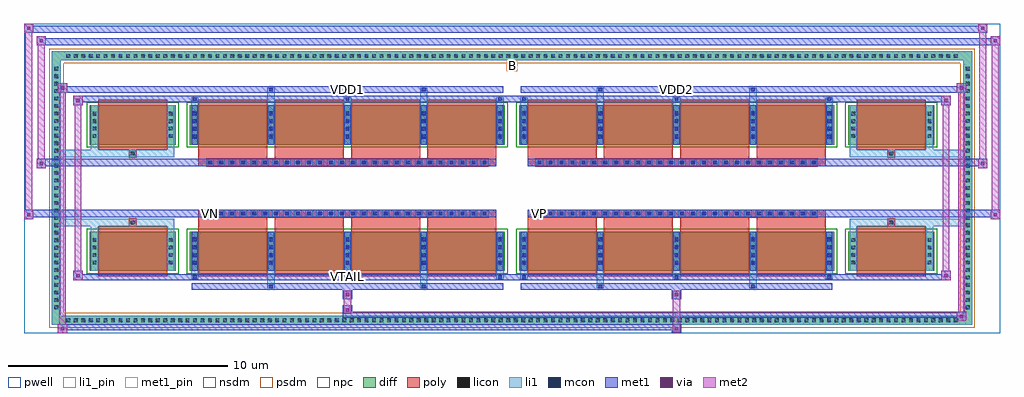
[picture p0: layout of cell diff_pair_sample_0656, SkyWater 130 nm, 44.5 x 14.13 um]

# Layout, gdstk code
import gdstk
lib = gdstk.Library(unit=1e-6, precision=5e-09)
def R(c, l, rs):  # rectangles x0, y0, x1, y1
    for r in rs: c.add(gdstk.rectangle(r[:2], r[2:], *l))
def A(c, l, x, y, w, h, nx, ny, dx, dy):  # array of equal rectangles
    R(c, l, [(x+i*dx, y+j*dy, x+i*dx+w, y+j*dy+h) for i in range(nx) for j in range(ny)])
def P(c, l, *ps):  # polygons
    for p in ps: c.add(gdstk.Polygon(p, *l))
pwell = (64, 44)
diff = (65, 20)
poly = (66, 20)
licon = (66, 44)
li1_pin = (67, 16)
li1 = (67, 20)
mcon = (67, 44)
met1_pin = (68, 16)
met1 = (68, 20)
via = (68, 44)
met2 = (69, 20)
nsdm = (93, 44)
psdm = (94, 20)
npc = (95, 20)

diff_pair_sample_0656 = lib.new_cell('diff_pair_sample_0656')
R(diff_pair_sample_0656, pwell, [(-22.25,-6.63,22.25,7.5), (-19.57,-4.82,-0.01,-0.8), (0.01,-4.82,19.57,-0.8), (-19.57,0.8,-0.01,4.82), (0.01,0.8,19.57,4.82)])
A(diff_pair_sample_0656, diff, -20.435, -6.23, 0.41, 0.41, 120, 2, 0.34, 12.05)
A(diff_pair_sample_0656, diff, -20.98, -5.645, 0.41, 0.41, 1, 33, 0, 0.34)
A(diff_pair_sample_0656, diff, 20.57, -5.645, 0.41, 0.41, 1, 33, 0, 0.34)
R(diff_pair_sample_0656, diff, [(-20.435,-6.23,20.435,-5.82), (-20.98,-5.645,-20.57,5.645), (20.57,-5.645,20.98,5.645), (-19.26,-3.775,-15.33,-1.985), (-14.69,-3.775,-0.32,-1.985), (0.32,-3.775,14.69,-1.985), (15.33,-3.775,19.26,-1.985), (-19.26,1.985,-15.33,3.775), (-14.69,1.985,-0.32,3.775), (0.32,1.985,14.69,3.775), (15.33,1.985,19.26,3.775), (-20.435,5.82,20.435,6.23)])
P(diff_pair_sample_0656, diff, [(20.98,6.23),(-20.98,6.23),(-20.98,-5.82),(-20.57,-5.82),(-20.57,5.82),(20.57,5.82),(20.57,-5.82),(-20.57,-5.82),(-20.98,-5.82),(-20.98,-6.23),(20.98,-6.23)])
A(diff_pair_sample_0656, poly, -14.3, -4.025, 3.15, 2.29, 4, 2, 3.48, 5.76)
A(diff_pair_sample_0656, poly, 0.71, -4.025, 3.15, 2.29, 4, 2, 3.48, 5.76)
A(diff_pair_sample_0656, poly, -14.3, -1.735, 3.15, 0.405, 4, 2, 3.48, 3.065)
A(diff_pair_sample_0656, poly, 0.71, -1.735, 3.15, 0.405, 4, 2, 3.48, 3.065)
A(diff_pair_sample_0656, poly, -13.92, -1.33, 0.33, 0.33, 26, 2, 0.5, 2.33)
A(diff_pair_sample_0656, poly, 1.09, -1.33, 0.33, 0.33, 26, 2, 0.5, 2.33)
R(diff_pair_sample_0656, poly, [(-18.87,-4.025,-15.72,-1.735), (15.72,-4.025,18.87,-1.735), (-17.46,-1.735,-17.13,-1.405), (-17.46,-1.735,-17.13,-1.405), (17.13,-1.735,17.46,-1.405), (17.13,-1.735,17.46,-1.405), (-14.3,-1.33,-0.71,-1), (0.71,-1.33,14.3,-1), (-14.3,1,-0.71,1.33), (0.71,1,14.3,1.33), (-17.46,1.405,-17.13,1.735), (-17.46,1.405,-17.13,1.735), (17.13,1.405,17.46,1.735), (17.13,1.405,17.46,1.735), (-18.87,1.735,-15.72,4.025), (15.72,1.735,18.87,4.025)])
A(diff_pair_sample_0656, licon, -20.315, -6.11, 0.17, 0.17, 120, 2, 0.34, 12.05)
A(diff_pair_sample_0656, licon, -20.86, -5.525, 0.17, 0.17, 1, 33, 0, 0.34)
A(diff_pair_sample_0656, licon, 20.69, -5.525, 0.17, 0.17, 1, 33, 0, 0.34)
A(diff_pair_sample_0656, licon, -19.12, -3.475, 0.17, 0.17, 1, 4, 0, 0.34)
A(diff_pair_sample_0656, licon, -15.64, -3.475, 0.17, 0.17, 1, 4, 0, 0.34)
A(diff_pair_sample_0656, licon, -14.55, -3.475, 0.17, 0.17, 5, 4, 3.48, 0.34)
A(diff_pair_sample_0656, licon, 0.46, -3.475, 0.17, 0.17, 5, 4, 3.48, 0.34)
A(diff_pair_sample_0656, licon, 15.47, -3.475, 0.17, 0.17, 1, 4, 0, 0.34)
A(diff_pair_sample_0656, licon, 18.95, -3.475, 0.17, 0.17, 1, 4, 0, 0.34)
A(diff_pair_sample_0656, licon, -13.84, -1.25, 0.17, 0.17, 26, 2, 0.5, 2.33)
A(diff_pair_sample_0656, licon, 1.17, -1.25, 0.17, 0.17, 26, 2, 0.5, 2.33)
A(diff_pair_sample_0656, licon, -19.12, 2.285, 0.17, 0.17, 1, 4, 0, 0.34)
A(diff_pair_sample_0656, licon, -15.64, 2.285, 0.17, 0.17, 1, 4, 0, 0.34)
A(diff_pair_sample_0656, licon, -14.55, 2.285, 0.17, 0.17, 5, 4, 3.48, 0.34)
A(diff_pair_sample_0656, licon, 0.46, 2.285, 0.17, 0.17, 5, 4, 3.48, 0.34)
A(diff_pair_sample_0656, licon, 15.47, 2.285, 0.17, 0.17, 1, 4, 0, 0.34)
A(diff_pair_sample_0656, licon, 18.95, 2.285, 0.17, 0.17, 1, 4, 0, 0.34)
R(diff_pair_sample_0656, licon, [(-17.38,-1.655,-17.21,-1.485), (17.21,-1.655,17.38,-1.485), (-17.38,1.485,-17.21,1.655), (17.21,1.485,17.38,1.655)])
R(diff_pair_sample_0656, li1_pin, [(-0.25,5.32,0.25,5.82)])
A(diff_pair_sample_0656, li1, -20.395, -6.19, 0.33, 0.33, 120, 2, 0.34, 12.05)
A(diff_pair_sample_0656, li1, -20.94, -5.605, 0.33, 0.33, 1, 33, 0, 0.34)
A(diff_pair_sample_0656, li1, 20.61, -5.605, 0.33, 0.33, 1, 33, 0, 0.34)
A(diff_pair_sample_0656, li1, -14.63, -4.15, 0.33, 0.375, 3, 2, 6.96, 7.925)
A(diff_pair_sample_0656, li1, -14.55, -4.15, 0.17, 0.17, 3, 2, 6.96, 8.13)
A(diff_pair_sample_0656, li1, 0.38, -4.15, 0.33, 0.375, 3, 2, 6.96, 7.925)
A(diff_pair_sample_0656, li1, 0.46, -4.15, 0.17, 0.17, 3, 2, 6.96, 8.13)
A(diff_pair_sample_0656, li1, -14.63, -3.775, 0.33, 1.79, 5, 2, 3.48, 5.76)
A(diff_pair_sample_0656, li1, 0.38, -3.775, 0.33, 1.79, 5, 2, 3.48, 5.76)
A(diff_pair_sample_0656, li1, -19.2, -3.555, 0.33, 0.33, 1, 4, 0, 0.34)
A(diff_pair_sample_0656, li1, -15.72, -3.555, 0.33, 0.33, 1, 4, 0, 0.34)
A(diff_pair_sample_0656, li1, -14.63, -3.555, 0.33, 0.33, 5, 4, 3.48, 0.34)
A(diff_pair_sample_0656, li1, 0.38, -3.555, 0.33, 0.33, 5, 4, 3.48, 0.34)
A(diff_pair_sample_0656, li1, 15.39, -3.555, 0.33, 0.33, 1, 4, 0, 0.34)
A(diff_pair_sample_0656, li1, 18.87, -3.555, 0.33, 0.33, 1, 4, 0, 0.34)
A(diff_pair_sample_0656, li1, -14.55, -3.505, 0.17, 0.17, 5, 4, 3.48, 0.36)
A(diff_pair_sample_0656, li1, -14.55, -3.505, 0.17, 1.25, 5, 2, 3.48, 5.76)
A(diff_pair_sample_0656, li1, 0.46, -3.505, 0.17, 0.17, 5, 4, 3.48, 0.36)
A(diff_pair_sample_0656, li1, 0.46, -3.505, 0.17, 1.25, 5, 2, 3.48, 5.76)
A(diff_pair_sample_0656, li1, -13.92, -1.33, 0.33, 0.33, 26, 2, 0.5, 2.33)
A(diff_pair_sample_0656, li1, 1.09, -1.33, 0.33, 0.33, 26, 2, 0.5, 2.33)
A(diff_pair_sample_0656, li1, -19.2, 2.205, 0.33, 0.33, 1, 4, 0, 0.34)
A(diff_pair_sample_0656, li1, -15.72, 2.205, 0.33, 0.33, 1, 4, 0, 0.34)
A(diff_pair_sample_0656, li1, -14.63, 2.205, 0.33, 0.33, 5, 4, 3.48, 0.34)
A(diff_pair_sample_0656, li1, 0.38, 2.205, 0.33, 0.33, 5, 4, 3.48, 0.34)
A(diff_pair_sample_0656, li1, 15.39, 2.205, 0.33, 0.33, 1, 4, 0, 0.34)
A(diff_pair_sample_0656, li1, 18.87, 2.205, 0.33, 0.33, 1, 4, 0, 0.34)
A(diff_pair_sample_0656, li1, -14.55, 2.255, 0.17, 0.17, 5, 4, 3.48, 0.36)
A(diff_pair_sample_0656, li1, 0.46, 2.255, 0.17, 0.17, 5, 4, 3.48, 0.36)
R(diff_pair_sample_0656, li1, [(-20.98,-6.23,-20.57,-5.82), (-20.98,-6.23,-20.57,-5.82), (-20.57,-6.23,20.57,-5.82), (20.57,-6.23,20.98,-5.82), (20.57,-6.23,20.98,-5.82), (-20.98,-5.82,-20.57,5.82), (20.57,-5.82,20.98,5.82), (-11.15,-4.58,-10.82,-3.775), (-11.07,-4.58,-10.9,-4.41), (-4.19,-4.58,-3.86,-3.775), (-4.11,-4.58,-3.94,-4.41), (3.86,-4.58,4.19,-3.775), (3.94,-4.58,4.11,-4.41), (10.82,-4.58,11.15,-3.775), (10.9,-4.58,11.07,-4.41), (-19.2,-3.775,-18.87,-1.985), (-15.72,-3.775,-15.39,-1.985), (15.39,-3.775,15.72,-1.985), (18.87,-3.775,19.2,-1.985), (-19.2,-1.985,-18.87,-1.405), (-15.72,-1.985,-15.39,-1.405), (15.39,-1.985,15.72,-1.405), (18.87,-1.985,19.2,-1.405), (-20.98,-1.735,-17.46,-1.405), (-19.2,-1.735,-17.46,-1.405), (-17.46,-1.735,-17.13,-1.405), (-17.13,-1.735,-15.39,-1.405), (15.39,-1.735,17.13,-1.405), (17.13,-1.735,17.46,-1.405), (17.13,-1.735,20.98,-1.405), (17.46,-1.735,19.2,-1.405), (-20.98,1.405,-17.46,1.735), (-19.2,1.405,-17.46,1.735), (-19.2,1.405,-18.87,1.985), (-17.46,1.405,-17.13,1.735), (-17.13,1.405,-15.39,1.735), (-15.72,1.405,-15.39,1.985), (15.39,1.405,17.13,1.735), (15.39,1.405,15.72,1.985), (17.13,1.405,17.46,1.735), (17.13,1.405,20.98,1.735), (17.46,1.405,19.2,1.735), (18.87,1.405,19.2,1.985), (-19.2,1.985,-18.87,3.775), (-15.72,1.985,-15.39,3.775), (15.39,1.985,15.72,3.775), (18.87,1.985,19.2,3.775), (-11.15,3.775,-10.82,4.58), (-4.19,3.775,-3.86,4.58), (3.86,3.775,4.19,4.58), (10.82,3.775,11.15,4.58), (-11.07,4.41,-10.9,4.58), (-4.11,4.41,-3.94,4.58), (3.94,4.41,4.11,4.58), (10.9,4.41,11.07,4.58), (-20.98,5.82,-20.57,6.23), (-20.98,5.82,-20.57,6.23), (-20.57,5.82,20.57,6.23), (20.57,5.82,20.98,6.23), (20.57,5.82,20.98,6.23)])
A(diff_pair_sample_0656, mcon, -14.55, -4.15, 0.17, 0.17, 3, 2, 6.96, 8.13)
A(diff_pair_sample_0656, mcon, 0.46, -4.15, 0.17, 0.17, 3, 2, 6.96, 8.13)
A(diff_pair_sample_0656, mcon, -14.55, -3.505, 0.17, 0.17, 5, 4, 3.48, 0.36)
A(diff_pair_sample_0656, mcon, 0.46, -3.505, 0.17, 0.17, 5, 4, 3.48, 0.36)
A(diff_pair_sample_0656, mcon, -13.84, -1.25, 0.17, 0.17, 26, 2, 0.5, 2.33)
A(diff_pair_sample_0656, mcon, 1.17, -1.25, 0.17, 0.17, 26, 2, 0.5, 2.33)
A(diff_pair_sample_0656, mcon, -14.55, 2.255, 0.17, 0.17, 5, 4, 3.48, 0.36)
A(diff_pair_sample_0656, mcon, 0.46, 2.255, 0.17, 0.17, 5, 4, 3.48, 0.36)
R(diff_pair_sample_0656, mcon, [(-11.07,-4.58,-10.9,-4.41), (-4.11,-4.58,-3.94,-4.41), (3.94,-4.58,4.11,-4.41), (10.9,-4.58,11.07,-4.41), (-11.07,4.41,-10.9,4.58), (-4.11,4.41,-3.94,4.58), (3.94,4.41,4.11,4.58), (10.9,4.41,11.07,4.58)])
R(diff_pair_sample_0656, met1_pin, [(-7.64,-4.19,-7.37,-3.92), (-13.89,-1.29,-13.62,-1.02), (1.12,-1.29,1.39,-1.02), (-7.64,4.37,-7.37,4.64), (7.37,4.37,7.64,4.64)])
A(diff_pair_sample_0656, met1, -14.61, -4.21, 0.29, 0.29, 3, 2, 6.96, 8.13)
A(diff_pair_sample_0656, met1, 0.4, -4.21, 0.29, 0.29, 3, 2, 6.96, 8.13)
A(diff_pair_sample_0656, met1, -14.61, -3.775, 0.29, 1.79, 5, 2, 3.48, 5.76)
A(diff_pair_sample_0656, met1, 0.4, -3.775, 0.29, 1.79, 5, 2, 3.48, 5.76)
A(diff_pair_sample_0656, met1, -14.61, -3.565, 0.29, 0.29, 5, 4, 3.48, 0.36)
A(diff_pair_sample_0656, met1, 0.4, -3.565, 0.29, 0.29, 5, 4, 3.48, 0.36)
A(diff_pair_sample_0656, met1, -13.9, -1.31, 0.29, 0.29, 26, 2, 0.5, 2.33)
A(diff_pair_sample_0656, met1, 1.11, -1.31, 0.29, 0.29, 26, 2, 0.5, 2.33)
A(diff_pair_sample_0656, met1, -14.61, 2.195, 0.29, 0.29, 5, 4, 3.48, 0.36)
A(diff_pair_sample_0656, met1, 0.4, 2.195, 0.29, 0.29, 5, 4, 3.48, 0.36)
R(diff_pair_sample_0656, met1, [(-20.71,-6.63,-20.28,-6.2), (7.29,-6.63,7.72,-6.2), (-20.71,-6.49,7.72,-6.2), (20.28,-6.06,20.71,-5.63), (-7.72,-5.92,20.71,-5.63), (-7.72,-5.78,-7.29,-5.35), (-7.72,-5.07,-7.29,-4.64), (7.29,-5.07,7.72,-4.64), (-14.61,-4.64,-0.4,-4.35), (-11.13,-4.64,-10.84,-4.35), (-4.17,-4.64,-3.88,-4.35), (0.4,-4.64,14.61,-4.35), (3.88,-4.64,4.17,-4.35), (10.84,-4.64,11.13,-4.35), (-20,-4.21,-19.57,-3.78), (-20,-4.21,-14.61,-3.92), (-14.61,-4.21,-0.4,-3.92), (-0.4,-4.21,0.4,-3.92), (0.4,-4.21,14.61,-3.92), (14.61,-4.21,20,-3.92), (19.57,-4.21,20,-3.78), (-22.25,-1.43,-21.82,-1), (21.82,-1.43,22.25,-1), (-22.25,-1.33,-0.71,-1), (-14.3,-1.33,-0.71,-1), (0.71,-1.33,14.3,-1), (0.71,-1.33,22.25,-1), (-21.68,0.9,-21.25,1.33), (21.25,0.9,21.68,1.33), (-21.68,1,-14.3,1.33), (-14.3,1,-0.71,1.33), (0.71,1,14.3,1.33), (14.3,1,21.68,1.33), (-20,3.78,-19.57,4.21), (19.57,3.78,20,4.21), (-20,3.92,-14.61,4.21), (-14.61,3.92,-0.4,4.21), (-0.4,3.92,0.4,4.21), (0.4,3.92,14.61,4.21), (14.61,3.92,20,4.21), (-20.71,4.35,-20.28,4.78), (-20.71,4.35,-14.61,4.64), (-14.61,4.35,-0.4,4.64), (-11.13,4.35,-10.84,4.64), (-4.17,4.35,-3.88,4.64), (0.4,4.35,14.61,4.64), (3.88,4.35,4.17,4.64), (10.84,4.35,11.13,4.64), (14.61,4.35,20.71,4.64), (20.28,4.35,20.71,4.78), (-21.68,6.5,-21.25,6.93), (-21.68,6.5,-19.57,6.83), (-19.57,6.5,19.57,6.83), (19.57,6.5,22.25,6.83), (21.82,6.5,22.25,6.93), (-22.25,7.07,-21.82,7.5), (-22.25,7.07,-19.57,7.4), (-19.57,7.07,19.57,7.4), (19.57,7.07,21.68,7.4), (21.25,7.07,21.68,7.5)])
R(diff_pair_sample_0656, via, [(-20.57,-6.49,-20.42,-6.34), (7.43,-6.49,7.58,-6.34), (20.42,-5.92,20.57,-5.77), (-7.58,-5.64,-7.43,-5.49), (-7.58,-4.93,-7.43,-4.78), (7.43,-4.93,7.58,-4.78), (-19.86,-4.07,-19.71,-3.92), (19.71,-4.07,19.86,-3.92), (-22.11,-1.29,-21.96,-1.14), (21.96,-1.29,22.11,-1.14), (-21.54,1.04,-21.39,1.19), (21.39,1.04,21.54,1.19), (-19.86,3.92,-19.71,4.07), (19.71,3.92,19.86,4.07), (-20.57,4.49,-20.42,4.64), (20.42,4.49,20.57,4.64), (-21.54,6.64,-21.39,6.79), (21.96,6.64,22.11,6.79), (-22.11,7.21,-21.96,7.36), (21.39,7.21,21.54,7.36)])
R(diff_pair_sample_0656, met2, [(-20.71,-6.63,-20.28,-6.2), (-20.64,-6.63,-20.35,4.78), (-20.35,-6.63,-20.28,-6.2), (-20.66,-6.58,-20.33,-6.25), (7.34,-6.58,7.67,-6.25), (7.34,-6.25,7.67,-5.02), (20.28,-6.06,20.71,-5.63), (20.35,-6.06,20.64,4.78), (20.64,-6.06,20.71,-5.63), (20.33,-6.01,20.66,-5.68), (-7.67,-5.73,-7.34,-5.4), (-7.67,-5.4,-7.34,-5.02), (-7.67,-5.02,-7.34,-4.69), (7.34,-5.02,7.67,-4.69), (-20,-4.21,-19.57,-3.78), (-19.93,-4.21,-19.64,4.21), (-19.64,-4.21,-19.57,-3.78), (19.57,-4.21,20,-3.78), (19.64,-4.21,19.93,4.21), (19.93,-4.21,20,-3.78), (-19.95,-4.16,-19.62,-3.83), (19.62,-4.16,19.95,-3.83), (-22.25,-1.43,-21.82,-1), (-22.2,-1.43,-21.87,7.5), (-21.87,-1.43,-21.82,-1), (21.82,-1.43,22.25,-1), (21.87,-1.43,22.2,6.93), (22.2,-1.43,22.25,-1), (-22.2,-1.38,-21.87,-1.05), (21.87,-1.38,22.2,-1.05), (-21.68,0.9,-21.25,1.33), (-21.63,0.9,-21.3,6.93), (-21.3,0.9,-21.25,1.33), (21.25,0.9,21.68,1.33), (21.3,0.9,21.63,7.5), (21.63,0.9,21.68,1.33), (-21.63,0.95,-21.3,1.28), (21.3,0.95,21.63,1.28), (-20,3.78,-19.57,4.21), (-19.64,3.78,-19.57,4.21), (19.57,3.78,20,4.21), (19.93,3.78,20,4.21), (-19.95,3.83,-19.62,4.16), (19.62,3.83,19.95,4.16), (-20.71,4.35,-20.28,4.78), (-20.35,4.35,-20.28,4.78), (20.28,4.35,20.71,4.78), (20.64,4.35,20.71,4.78), (-20.66,4.4,-20.33,4.73), (20.33,4.4,20.66,4.73), (-21.68,6.5,-21.25,6.93), (-21.3,6.5,-21.25,6.93), (21.82,6.5,22.25,6.93), (22.2,6.5,22.25,6.93), (-21.63,6.55,-21.3,6.88), (21.87,6.55,22.2,6.88), (-22.25,7.07,-21.82,7.5), (-21.87,7.07,-21.82,7.5), (21.25,7.07,21.68,7.5), (21.63,7.07,21.68,7.5), (-22.2,7.12,-21.87,7.45), (21.3,7.12,21.63,7.45)])
R(diff_pair_sample_0656, nsdm, [(-19.39,-3.905,-15.2,-1.855), (-14.82,-3.905,-0.19,-1.855), (0.19,-3.905,14.82,-1.855), (15.2,-3.905,19.39,-1.855), (-19.39,1.855,-15.2,3.905), (-14.82,1.855,-0.19,3.905), (0.19,1.855,14.82,3.905), (15.2,1.855,19.39,3.905)])
P(diff_pair_sample_0656, psdm, [(21.11,6.36),(-21.11,6.36),(-21.11,-5.69),(-20.44,-5.69),(-20.44,5.69),(20.44,5.69),(20.44,-5.69),(-20.44,-5.69),(-21.11,-5.69),(-21.11,-6.36),(21.11,-6.36)])
A(diff_pair_sample_0656, npc, -13.94, -1.35, 0.37, 0.37, 26, 2, 0.5, 2.33)
A(diff_pair_sample_0656, npc, 1.07, -1.35, 0.37, 0.37, 26, 2, 0.5, 2.33)
R(diff_pair_sample_0656, npc, [(-17.48,-1.755,-17.11,-1.385), (17.11,-1.755,17.48,-1.385), (-13.94,-1.35,-13.07,-0.98), (-13.94,-1.35,-13.07,-0.98), (-13.44,-1.35,-12.57,-0.98), (-13.44,-1.35,-12.57,-0.98), (-12.94,-1.35,-12.07,-0.98), (-12.94,-1.35,-12.07,-0.98), (-12.44,-1.35,-11.57,-0.98), (-12.44,-1.35,-11.57,-0.98), (-11.94,-1.35,-11.07,-0.98), (-11.94,-1.35,-11.07,-0.98), (-11.44,-1.35,-10.57,-0.98), (-11.44,-1.35,-10.57,-0.98), (-10.94,-1.35,-10.07,-0.98), (-10.94,-1.35,-10.07,-0.98), (-10.44,-1.35,-9.57,-0.98), (-10.44,-1.35,-9.57,-0.98), (-9.94,-1.35,-9.07,-0.98), (-9.94,-1.35,-9.07,-0.98), (-9.44,-1.35,-8.57,-0.98), (-9.44,-1.35,-8.57,-0.98), (-8.94,-1.35,-8.07,-0.98), (-8.94,-1.35,-8.07,-0.98), (-8.44,-1.35,-7.57,-0.98), (-8.44,-1.35,-7.57,-0.98), (-7.94,-1.35,-7.07,-0.98), (-7.94,-1.35,-7.07,-0.98), (-7.44,-1.35,-6.57,-0.98), (-7.44,-1.35,-6.57,-0.98), (-6.94,-1.35,-6.07,-0.98), (-6.94,-1.35,-6.07,-0.98), (-6.44,-1.35,-5.57,-0.98), (-6.44,-1.35,-5.57,-0.98), (-5.94,-1.35,-5.07,-0.98), (-5.94,-1.35,-5.07,-0.98), (-5.44,-1.35,-4.57,-0.98), (-5.44,-1.35,-4.57,-0.98), (-4.94,-1.35,-4.07,-0.98), (-4.94,-1.35,-4.07,-0.98), (-4.44,-1.35,-3.57,-0.98), (-4.44,-1.35,-3.57,-0.98), (-3.94,-1.35,-3.07,-0.98), (-3.94,-1.35,-3.07,-0.98), (-3.44,-1.35,-2.57,-0.98), (-3.44,-1.35,-2.57,-0.98), (-2.94,-1.35,-2.07,-0.98), (-2.94,-1.35,-2.07,-0.98), (-2.44,-1.35,-1.57,-0.98), (-2.44,-1.35,-1.57,-0.98), (-1.94,-1.35,-1.07,-0.98), (-1.94,-1.35,-1.07,-0.98), (1.07,-1.35,1.94,-0.98), (1.07,-1.35,1.94,-0.98), (1.57,-1.35,2.44,-0.98), (1.57,-1.35,2.44,-0.98), (2.07,-1.35,2.94,-0.98), (2.07,-1.35,2.94,-0.98), (2.57,-1.35,3.44,-0.98), (2.57,-1.35,3.44,-0.98), (3.07,-1.35,3.94,-0.98), (3.07,-1.35,3.94,-0.98), (3.57,-1.35,4.44,-0.98), (3.57,-1.35,4.44,-0.98), (4.07,-1.35,4.94,-0.98), (4.07,-1.35,4.94,-0.98), (4.57,-1.35,5.44,-0.98), (4.57,-1.35,5.44,-0.98), (5.07,-1.35,5.94,-0.98), (5.07,-1.35,5.94,-0.98), (5.57,-1.35,6.44,-0.98), (5.57,-1.35,6.44,-0.98), (6.07,-1.35,6.94,-0.98), (6.07,-1.35,6.94,-0.98), (6.57,-1.35,7.44,-0.98), (6.57,-1.35,7.44,-0.98), (7.07,-1.35,7.94,-0.98), (7.07,-1.35,7.94,-0.98), (7.57,-1.35,8.44,-0.98), (7.57,-1.35,8.44,-0.98), (8.07,-1.35,8.94,-0.98), (8.07,-1.35,8.94,-0.98), (8.57,-1.35,9.44,-0.98), (8.57,-1.35,9.44,-0.98), (9.07,-1.35,9.94,-0.98), (9.07,-1.35,9.94,-0.98), (9.57,-1.35,10.44,-0.98), (9.57,-1.35,10.44,-0.98), (10.07,-1.35,10.94,-0.98), (10.07,-1.35,10.94,-0.98), (10.57,-1.35,11.44,-0.98), (10.57,-1.35,11.44,-0.98), (11.07,-1.35,11.94,-0.98), (11.07,-1.35,11.94,-0.98), (11.57,-1.35,12.44,-0.98), (11.57,-1.35,12.44,-0.98), (12.07,-1.35,12.94,-0.98), (12.07,-1.35,12.94,-0.98), (12.57,-1.35,13.44,-0.98), (12.57,-1.35,13.44,-0.98), (13.07,-1.35,13.94,-0.98), (13.07,-1.35,13.94,-0.98), (-13.94,0.98,-13.07,1.35), (-13.94,0.98,-13.07,1.35), (-13.44,0.98,-12.57,1.35), (-13.44,0.98,-12.57,1.35), (-12.94,0.98,-12.07,1.35), (-12.94,0.98,-12.07,1.35), (-12.44,0.98,-11.57,1.35), (-12.44,0.98,-11.57,1.35), (-11.94,0.98,-11.07,1.35), (-11.94,0.98,-11.07,1.35), (-11.44,0.98,-10.57,1.35), (-11.44,0.98,-10.57,1.35), (-10.94,0.98,-10.07,1.35), (-10.94,0.98,-10.07,1.35), (-10.44,0.98,-9.57,1.35), (-10.44,0.98,-9.57,1.35), (-9.94,0.98,-9.07,1.35), (-9.94,0.98,-9.07,1.35), (-9.44,0.98,-8.57,1.35), (-9.44,0.98,-8.57,1.35), (-8.94,0.98,-8.07,1.35), (-8.94,0.98,-8.07,1.35), (-8.44,0.98,-7.57,1.35), (-8.44,0.98,-7.57,1.35), (-7.94,0.98,-7.07,1.35), (-7.94,0.98,-7.07,1.35), (-7.44,0.98,-6.57,1.35), (-7.44,0.98,-6.57,1.35), (-6.94,0.98,-6.07,1.35), (-6.94,0.98,-6.07,1.35), (-6.44,0.98,-5.57,1.35), (-6.44,0.98,-5.57,1.35), (-5.94,0.98,-5.07,1.35), (-5.94,0.98,-5.07,1.35), (-5.44,0.98,-4.57,1.35), (-5.44,0.98,-4.57,1.35), (-4.94,0.98,-4.07,1.35), (-4.94,0.98,-4.07,1.35), (-4.44,0.98,-3.57,1.35), (-4.44,0.98,-3.57,1.35), (-3.94,0.98,-3.07,1.35), (-3.94,0.98,-3.07,1.35), (-3.44,0.98,-2.57,1.35), (-3.44,0.98,-2.57,1.35), (-2.94,0.98,-2.07,1.35), (-2.94,0.98,-2.07,1.35), (-2.44,0.98,-1.57,1.35), (-2.44,0.98,-1.57,1.35), (-1.94,0.98,-1.07,1.35), (-1.94,0.98,-1.07,1.35), (1.07,0.98,1.94,1.35), (1.07,0.98,1.94,1.35), (1.57,0.98,2.44,1.35), (1.57,0.98,2.44,1.35), (2.07,0.98,2.94,1.35), (2.07,0.98,2.94,1.35), (2.57,0.98,3.44,1.35), (2.57,0.98,3.44,1.35), (3.07,0.98,3.94,1.35), (3.07,0.98,3.94,1.35), (3.57,0.98,4.44,1.35), (3.57,0.98,4.44,1.35), (4.07,0.98,4.94,1.35), (4.07,0.98,4.94,1.35), (4.57,0.98,5.44,1.35), (4.57,0.98,5.44,1.35), (5.07,0.98,5.94,1.35), (5.07,0.98,5.94,1.35), (5.57,0.98,6.44,1.35), (5.57,0.98,6.44,1.35), (6.07,0.98,6.94,1.35), (6.07,0.98,6.94,1.35), (6.57,0.98,7.44,1.35), (6.57,0.98,7.44,1.35), (7.07,0.98,7.94,1.35), (7.07,0.98,7.94,1.35), (7.57,0.98,8.44,1.35), (7.57,0.98,8.44,1.35), (8.07,0.98,8.94,1.35), (8.07,0.98,8.94,1.35), (8.57,0.98,9.44,1.35), (8.57,0.98,9.44,1.35), (9.07,0.98,9.94,1.35), (9.07,0.98,9.94,1.35), (9.57,0.98,10.44,1.35), (9.57,0.98,10.44,1.35), (10.07,0.98,10.94,1.35), (10.07,0.98,10.94,1.35), (10.57,0.98,11.44,1.35), (10.57,0.98,11.44,1.35), (11.07,0.98,11.94,1.35), (11.07,0.98,11.94,1.35), (11.57,0.98,12.44,1.35), (11.57,0.98,12.44,1.35), (12.07,0.98,12.94,1.35), (12.07,0.98,12.94,1.35), (12.57,0.98,13.44,1.35), (12.57,0.98,13.44,1.35), (13.07,0.98,13.94,1.35), (13.07,0.98,13.94,1.35), (-17.48,1.385,-17.11,1.755), (17.11,1.385,17.48,1.755)])
diff_pair_sample_0656.add(gdstk.Label('VTAIL', (-7.505,-4.055), layer=68, texttype=5))
diff_pair_sample_0656.add(gdstk.Label('VN', (-13.755,-1.155), layer=68, texttype=5))
diff_pair_sample_0656.add(gdstk.Label('VP', (1.255,-1.155), layer=68, texttype=5))
diff_pair_sample_0656.add(gdstk.Label('B', (0,5.57), layer=67, texttype=5))
diff_pair_sample_0656.add(gdstk.Label('VDD2', (7.505,4.505), layer=68, texttype=5))
diff_pair_sample_0656.add(gdstk.Label('VDD1', (-7.505,4.505), layer=68, texttype=5))

lib.write_gds('diff_pair_sample_0656.gds')
